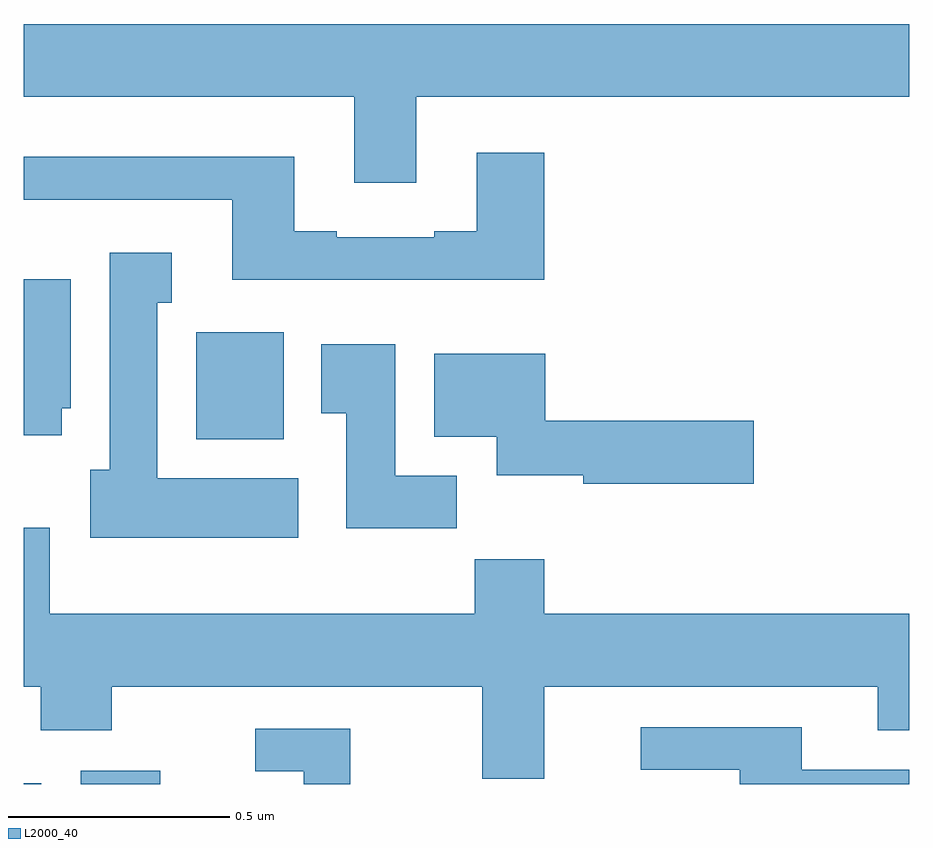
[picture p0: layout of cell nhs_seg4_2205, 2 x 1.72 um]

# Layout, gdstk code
import gdstk
lib = gdstk.Library(unit=1e-6, precision=1e-09)
def R(c, l, rs):  # rectangles x0, y0, x1, y1
    for r in rs: c.add(gdstk.rectangle(r[:2], r[2:], *l))
def P(c, l, *ps):  # polygons
    for p in ps: c.add(gdstk.Polygon(p, *l))
L2000_40 = (2000, 40)

nhs_seg4_2205 = lib.new_cell('nhs_seg4_2205')
R(nhs_seg4_2205, L2000_40, [(137,829.9,137.04,829.902), (137.129,829.9,137.308,829.93), (137.39,830.678,137.587,830.92)])
P(nhs_seg4_2205, L2000_40, [(137.887,831.452),(139,831.452),(139,831.616),(137,831.616),(137,831.452),(137.747,831.452),(137.747,831.258),(137.887,831.258)],
  [(138.176,831.325),(138.023,831.325),(138.023,831.148),(137.927,831.148),(137.927,831.135),(137.707,831.135),(137.707,831.148),(137.611,831.148),(137.611,831.316),(137,831.316),(137,831.219),(137.471,831.219),(137.471,831.038),(138.176,831.038)],
  [(137.62,830.59),(137.302,830.59),(137.302,830.987),(137.335,830.987),(137.335,831.1),(137.195,831.1),(137.195,830.61),(137.15,830.61),(137.15,830.456),(137.62,830.456)],
  [(137.086,830.748),(137.107,830.748),(137.107,831.04),(137,831.04),(137,830.688),(137.086,830.688)],
  [(137.978,830.596),(137.839,830.596),(137.839,830.893),(137.672,830.893),(137.672,830.737),(137.729,830.737),(137.729,830.478),(137.978,830.478)],
  [(138.649,830.72),(138.178,830.72),(138.178,830.872),(137.927,830.872),(137.927,830.684),(138.068,830.684),(138.068,830.597),(138.264,830.597),(138.264,830.578),(138.649,830.578)],
  [(138.175,830.12),(138.929,830.12),(138.929,830.021),(139,830.021),(139,830.284),(138.176,830.284),(138.176,830.408),(138.019,830.408),(138.019,830.284),(137.059,830.284),(137.059,830.479),(137,830.479),(137,830.12),(137.039,830.12),(137.039,830.021),(137.199,830.021),(137.199,830.12),(138.035,830.12),(138.035,829.912),(138.175,829.912)],
  [(139,829.932),(138.757,829.932),(138.757,830.028),(138.393,830.028),(138.393,829.932),(138.617,829.932),(138.617,829.9),(139,829.9)],
  [(137.737,830.025),(137.523,830.025),(137.523,829.929),(137.633,829.929),(137.633,829.9),(137.737,829.9)])

lib.write_gds('nhs_seg4_2205.gds')
